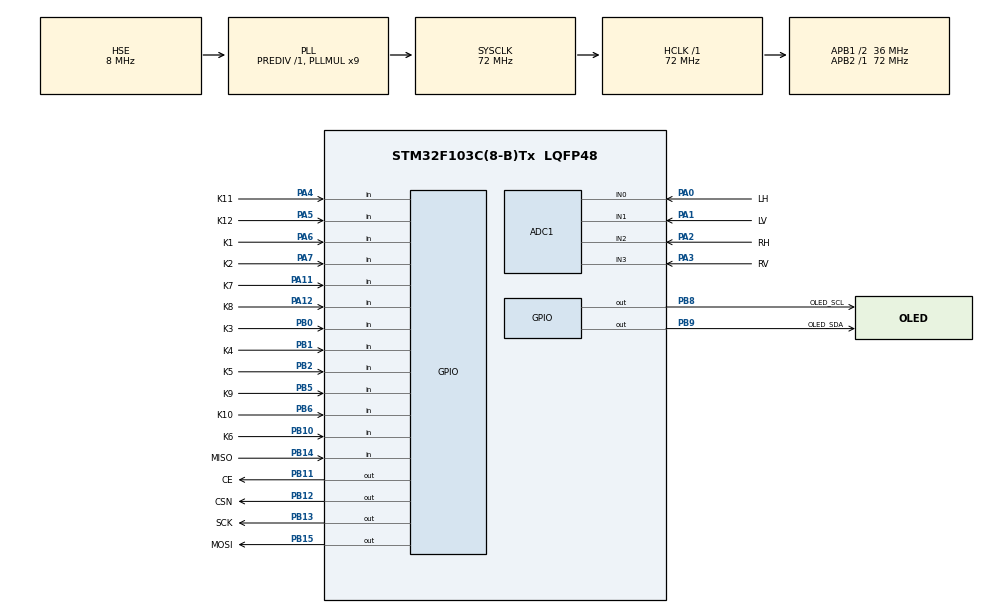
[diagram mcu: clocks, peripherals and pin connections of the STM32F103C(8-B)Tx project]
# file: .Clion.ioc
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ADC1.Channel-0\#ChannelRegularConversion=ADC_CHANNEL_0
ADC1.Channel-1\#ChannelRegularConversion=ADC_CHANNEL_1
ADC1.Channel-2\#ChannelRegularConversion=ADC_CHANNEL_2
ADC1.Channel-3\#ChannelRegularConversion=ADC_CHANNEL_3
ADC1.ContinuousConvMode=ENABLE
ADC1.NbrOfConversion=4
ADC1.NbrOfConversionFlag=1
ADC1.Rank-0\#ChannelRegularConversion=1
ADC1.Rank-1\#ChannelRegularConversion=2
ADC1.Rank-2\#ChannelRegularConversion=3
ADC1.Rank-3\#ChannelRegularConversion=4
ADC1.SamplingTime-0\#ChannelRegularConversion=ADC_SAMPLETIME_41CYCLES_5
ADC1.SamplingTime-1\#ChannelRegularConversion=ADC_SAMPLETIME_41CYCLES_5
ADC1.SamplingTime-2\#ChannelRegularConversion=ADC_SAMPLETIME_41CYCLES_5
ADC1.SamplingTime-3\#ChannelRegularConversion=ADC_SAMPLETIME_41CYCLES_5
ADC1.master=1
Dma.ADC1.0.Direction=DMA_PERIPH_TO_MEMORY
Dma.ADC1.0.Instance=DMA1_Channel1
Dma.ADC1.0.MemDataAlignment=DMA_MDATAALIGN_HALFWORD
Dma.ADC1.0.MemInc=DMA_MINC_ENABLE
Dma.ADC1.0.Mode=DMA_CIRCULAR
Dma.ADC1.0.PeriphDataAlignment=DMA_PDATAALIGN_HALFWORD
Dma.ADC1.0.PeriphInc=DMA_PINC_DISABLE
Dma.ADC1.0.Priority=DMA_PRIORITY_LOW
Dma.Request0=ADC1
Mcu.Family=STM32F1
Mcu.Name=STM32F103C(8-B)Tx
Mcu.Package=LQFP48
NVIC.DMA1_Channel1_IRQn=true\:0\:0\:false\:false\:true\:false\:true\:true
NVIC.PriorityGroup=NVIC_PRIORITYGROUP_4
NVIC.TIM1_UP_IRQn=true\:0\:0\:false\:false\:true\:true\:true\:true
PA0-WKUP.GPIO_Label=LH
PA0-WKUP.Signal=ADCx_IN0
PA1.GPIO_Label=LV
PA1.Signal=ADCx_IN1
PA11.GPIO_Label=K7
PA11.GPIO_PuPd=GPIO_PULLUP
PA11.Signal=GPIO_Input
PA12.GPIO_Label=K8
PA12.GPIO_PuPd=GPIO_PULLUP
PA12.Signal=GPIO_Input
PA13.Mode=Serial_Wire
PA13.Signal=SYS_JTMS-SWDIO
PA14.Mode=Serial_Wire
PA14.Signal=SYS_JTCK-SWCLK
PA2.GPIO_Label=RH
PA2.Signal=ADCx_IN2
PA3.GPIO_Label=RV
PA3.Signal=ADCx_IN3
PA4.GPIO_Label=K11
PA4.GPIO_PuPd=GPIO_PULLUP
PA4.Signal=GPIO_Input
PA5.GPIO_Label=K12
PA5.GPIO_PuPd=GPIO_PULLUP
PA5.Signal=GPIO_Input
PA6.GPIO_Label=K1
PA6.GPIO_PuPd=GPIO_PULLUP
PA6.Signal=GPIO_Input
PA7.GPIO_Label=K2
PA7.GPIO_PuPd=GPIO_PULLUP
PA7.Signal=GPIO_Input
PB0.GPIO_Label=K3
PB0.GPIO_PuPd=GPIO_PULLUP
PB0.Signal=GPIO_Input
PB1.GPIO_Label=K4
PB1.GPIO_PuPd=GPIO_PULLUP
PB1.Signal=GPIO_Input
PB10.GPIO_Label=K6
PB10.GPIO_PuPd=GPIO_PULLUP
PB10.Signal=GPIO_Input
PB11.GPIO_Label=CE
PB11.GPIO_Speed=GPIO_SPEED_FREQ_HIGH
PB11.Signal=GPIO_Output
PB12.GPIO_Label=CSN
PB12.GPIO_Speed=GPIO_SPEED_FREQ_HIGH
PB12.PinState=GPIO_PIN_SET
PB12.Signal=GPIO_Output
PB13.GPIO_Label=SCK
PB13.GPIO_Speed=GPIO_SPEED_FREQ_HIGH
PB13.Signal=GPIO_Output
PB14.GPIO_Label=MISO
PB14.GPIO_PuPd=GPIO_PULLUP
PB14.Signal=GPIO_Input
PB15.GPIO_Label=MOSI
PB15.GPIO_Speed=GPIO_SPEED_FREQ_HIGH
PB15.Signal=GPIO_Output
PB2.GPIO_Label=K5
PB2.GPIO_PuPd=GPIO_PULLUP
PB2.Signal=GPIO_Input
PB5.GPIO_Label=K9
PB5.GPIO_PuPd=GPIO_PULLUP
PB5.Signal=GPIO_Input
PB6.GPIO_Label=K10
PB6.GPIO_PuPd=GPIO_PULLUP
PB6.Signal=GPIO_Input
PB8.GPIO_Label=OLED_SCL
PB8.GPIO_ModeDefaultOutputPP=GPIO_MODE_OUTPUT_OD
PB8.GPIO_PuPd=GPIO_PULLUP
PB8.GPIO_Speed=GPIO_SPEED_FREQ_HIGH
PB8.PinState=GPIO_PIN_SET
PB8.Signal=GPIO_Output
PB9.GPIO_Label=OLED_SDA
PB9.GPIO_ModeDefaultOutputPP=GPIO_MODE_OUTPUT_OD
PB9.GPIO_PuPd=GPIO_PULLUP
PB9.GPIO_Speed=GPIO_SPEED_FREQ_HIGH
PB9.PinState=GPIO_PIN_SET
PB9.Signal=GPIO_Output
PD0-OSC_IN.Mode=HSE-External-Oscillator
PD0-OSC_IN.Signal=RCC_OSC_IN
PD1-OSC_OUT.Mode=HSE-External-Oscillator
PD1-OSC_OUT.Signal=RCC_OSC_OUT
ProjectManager.HeapSize=0x200
ProjectManager.StackSize=0x400
ProjectManager.TargetToolchain=MDK-ARM V5.32
RCC.ADCPresc=RCC_ADCPCLK2_DIV6
RCC.AHBFreq_Value=72000000
RCC.APB1CLKDivider=RCC_HCLK_DIV2
RCC.APB1Freq_Value=36000000
RCC.APB1TimFreq_Value=72000000
RCC.APB2Freq_Value=72000000
RCC.APB2TimFreq_Value=72000000
RCC.HCLKFreq_Value=72000000
RCC.PLLMUL=RCC_PLL_MUL9
RCC.PLLSourceVirtual=RCC_PLLSOURCE_HSE
RCC.SYSCLKFreq_VALUE=72000000
RCC.SYSCLKSource=RCC_SYSCLKSOURCE_PLLCLK
RCC.USBFreq_Value=72000000
SH.ADCx_IN0.0=ADC1_IN0,IN0
SH.ADCx_IN1.0=ADC1_IN1,IN1
SH.ADCx_IN2.0=ADC1_IN2,IN2
SH.ADCx_IN3.0=ADC1_IN3,IN3
TIM1.AutoReloadPreload=TIM_AUTORELOAD_PRELOAD_ENABLE
TIM1.Period=1000 - 1
TIM1.Prescaler=72 - 1
VP_TIM1_VS_ClockSourceINT.Mode=Internal
board=custom

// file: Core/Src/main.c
/* USER CODE BEGIN Header */
/**
  ******************************************************************************
  * @file           : main.c
  * @brief          : Main program body
  ******************************************************************************
  * @attention
  *
  * Copyright (c) 2026 STMicroelectronics.
  * All rights reserved.
  *
  * This software is licensed under terms that can be found in the LICENSE file
  * in the root directory of this software component.
  * If no LICENSE file comes with this software, it is provided AS-IS.
  *
  ******************************************************************************
  */
/* USER CODE END Header */
#include "main.h"
#include "adc.h"
#include "dma.h"
#include "tim.h"
#include "gpio.h"

/* USER CODE BEGIN Includes */
#include <stdio.h>
#include <string.h>
#include "NRF24L01.h"
#include "MyKey.h"
#include "OLED.h"
#include "../Inc/key_callback.h"
/* USER CODE END Includes */

/* USER CODE BEGIN PV */
uint16_t Count = 0;
uint16_t count= 0;
uint8_t Count0 = 0;

uint8_t SendFlag = 0;
uint8_t CheckFlag = 0;

uint8_t SpeedLevel = 0;
/* USER CODE END PV */

void SystemClock_Config(void);
/* USER CODE BEGIN PFP */
void HAL_TIM_PeriodElapsedCallback(TIM_HandleTypeDef *htim)
{
  if (htim->Instance == TIM1)
  {
    Key_Scan();
    Count ++;
    count ++;
    if (count == 100)
    {
      count = 0;
      SendFlag = 1;
    }
    if (Count == 1000)
    {
      Count = 0;
      CheckFlag = 1;
      Count0 ++;
    }
  }
}

/**
 * @brief 将无符号整数转换为指定长度的二进制字符串
 *
 * 该函数将传入的无符号整数 n 转换为二进制表示，并存储在字符串 str 中。
 * 输出的二进制字符串长度固定为 bits 位，不足 bits 位时在高位补零。
 *
 * @param n     要转换的无符号整数
 * @param bits  输出的二进制字符串位数（例如：8、16、32）
 * @param str   输出缓冲区，调用者需保证缓冲区大小 >= bits + 1 字节
 *
 * @note  str 字符串以 '\0' 结尾，可直接用于 printf 等函数
 * @warning 调用者必须确保 bits 大于 0，且 str 缓冲区足够大
 *
 * @example
 *   char buf[9];  // 8位二进制 + 结束符
 *   int_to_bin_str(5, 8, buf);  // buf = "00000101"
 */
void int_to_bin_str(unsigned int n, int bits, char *str)
{
  str[bits] = '\0';               // 在字符串末尾设置结束符

  for (int i = bits - 1; i >= 0; i--) {  // 从最低位到最高位填充
    str[i] = (n & 1) + '0';     // 取出最低位（0或1），转换为ASCII字符
    n >>= 1;                    // 右移一位，准备处理下一位
  }
}

// 可以根据手感调整这两个参数
#define DEADZONE    5    // 死区：绝对值小于这个数，就强制归0
#define ENDZONE     95    // 靠近端点的阈值：绝对值大于等于这个数，就强制±100

// 输入范围：-100 ~ +100
// 输出范围：-100 / 0 / +100（或者保持中间值不变）
int8_t Joystick_Fix(int16_t value)
{
  if (value > ENDZONE) {
    return 100;
  } else if (value < -ENDZONE) {
    return -100;
  } else if (value > -DEADZONE && value < DEADZONE) {
    return 0;
  } else {
    // 中间区域保持原值不变，也可以做线性缩放
    return value;
  }
}

/*平衡车动画*/
void RC_Start_Animation()
{
  OLED_ShowString(44,15,"STM32",OLED_8X16);
  OLED_ShowChinese_12X12(46,35,"遥控器");
  OLED_Update();
  HAL_Delay(1000);
  while(1)
  {
    static uint16_t i = 0;
    OLED_ShowChinese_12X12(40,35,"车度空间");
    OLED_UpdateArea(40,35,i,12);
    if(i<12*2)
    {
      HAL_Delay(16);i++;
    }
    if (i<12*4 && i>=12*2)
    {
      HAL_Delay(3);i++;
    }
    if (i>=12*4)
    {
      HAL_Delay(1500);break;
    }
  }
  OLED_Clear();
  OLED_ShowString(0, 12,  "  按键8保存速度 ", OLED_8X16);
  OLED_ShowString(0, 28, "   按键9 减速   ", OLED_8X16);
  OLED_ShowString(0, 44, "   按键10加速 ", OLED_8X16);
  OLED_Update();
  HAL_Delay(3000);
  OLED_Clear();
  while(1)
  {
    static uint16_t i = 0;
    OLED_ShowChinese_16X16(0,20,"功能按键与平衡车");
    OLED_ShowChinese_16X16(35,36,"一一映射");
    OLED_UpdateArea(0,0,i,60);
    if(i<16*4)
    {
      HAL_Delay(16);i++;
    }
    if (i<16*8 && i>=12*4)
    {
      HAL_Delay(3);i++;
    }
    if (i>=16*8)
    {
      HAL_Delay(1500);break;
    }
  }
  OLED_Clear();
  OLED_ShowChinese_12X12(40,26,"按下一键");
  OLED_ShowString(0, 40, "                K5>", OLED_6X8);
  OLED_Update();
}
/* USER CODE END PFP */

int main(void)
{

  /* MCU Configuration--------------------------------------------------------*/

  /* Reset of all peripherals, Initializes the Flash interface and the Systick. */
  HAL_Init();

  /* Configure the system clock */
  SystemClock_Config();

  /* Initialize all configured peripherals */
  MX_GPIO_Init();
  MX_DMA_Init();
  MX_TIM1_Init();
  MX_ADC1_Init();
  /* USER CODE BEGIN 2 */
  OLED_Init();
  NRF24L01_Init();
  HAL_TIM_Base_Start_IT(&htim1);
  Key_RegisterAllHandlers();
  /* USER CODE END 2 */

  /* Infinite loop */
  /* USER CODE BEGIN WHILE */
  uint16_t AD_Data[4];
  int8_t LH,LV,RH,RV;
  uint8_t TX_CallbackData = 0;
  uint8_t PLOS_CNT= 0,ARC_CNT = 0;
  uint8_t BCar_KeyControl = 0;   // 小车回传的活动按键编号
  uint8_t displayKey = 0;        // 当前要OLED显示的按键编号
  uint8_t displayKey_Last = 0;   // 上次显示的按键编号，用于变化检测去重刷新
  HAL_ADCEx_Calibration_Start(&hadc1);
  HAL_Delay(10);
  HAL_ADC_Start_DMA(&hadc1, (uint32_t*)AD_Data, 4);

  RC_Start_Animation();
  while (Key_GetPressed(K5_ID) == 0);
  OLED_Clear();
  HAL_Delay(10);
  while (1)
  {
    /* 每次循环顶部先读小车回复，避免被下面 NRF24L01_Send() 清除 RX_DR 标志 */
    if (NRF24L01_Receive())
    {
        BCar_KeyControl = NRF24L01_RxBuffer[4];
        SpeedLevel = NRF24L01_RxBuffer[5];
    }

    LH = (AD_Data[0] * 200 / 4095) - 100;
    LV = (AD_Data[1] * 200 / 4095) - 100;
    RH = (AD_Data[2] * 200 / 4095) - 100;
    RV = (AD_Data[3] * 200 / 4095) - 100;

    LH = Joystick_Fix(LH);
    LV = Joystick_Fix(LV);
    RH = Joystick_Fix(RH);
    RV = Joystick_Fix(RV);

    NRF24L01_TxBuffer[0] = LH;
    NRF24L01_TxBuffer[1] = LV;
    NRF24L01_TxBuffer[2] = RH;
    NRF24L01_TxBuffer[3] = RV;
    NRF24L01_TxBuffer[4] = Key_Flag;

    if (CheckFlag == 1)
    {
      CheckFlag = 0;
      TX_CallbackData = NRF24L01_ReadByte(NRF24L01_OBSERVE_TX);
      PLOS_CNT = (TX_CallbackData >> 4) & 0x0F;//统计最终发送失败、完全丢失的数据包数量。
      ARC_CNT = (TX_CallbackData >> 0) & 0x0F; //统计当前数据包的重传次数。值越大，信号越差，最差重传15次
    }

    if (SendFlag == 1)
    {
        SendFlag = 0;
        NRF24L01_Send();
        Key_Flag = 0;
    }

    /* displayKey优先级：小车回传状态(权威) > 本地按键(即时预览) > 0(无活动) */
    if (BCar_KeyControl != 0)
        displayKey = BCar_KeyControl;
    else if (Key_Flag != 0)
        displayKey = Key_Flag;
    else
            displayKey = 0;
    if (ARC_CNT <= 3) {
      OLED_ShowImage(0, 0, 16, 16, Sig nal_3);
    }
    else if (ARC_CNT <= 9) {
      OLED_ShowImage(0, 0, 16, 16, Signal_2);
    }
    else if (ARC_CNT < 15) {
      OLED_ShowImage(0, 0, 16, 16, Signal_1);
    }
    else {
      OLED_ShowImage(0, 0, 16, 16, Signal_0);
    }

    /* displayKey变化时才刷新OLED对应区域，减少I2C带宽浪费 */
    if (displayKey != displayKey_Last)
    {
      if (displayKey != 0)
          OLED_Printf(28, 0, OLED_6X8, " K:%03d", displayKey);
      else
          OLED_Printf(28, 0, OLED_6X8, "        ");
      displayKey_Last = displayKey;
    }

    OLED_Printf(28, 14  , OLED_6X8, " SpeedLevel:%03d", SpeedLevel);
    OLED_Printf(80, 0  , OLED_6X8, "ArcC:%02d", ARC_CNT);
    OLED_Printf(0, 24, OLED_8X16, "LH:%+04d",  LH);
    OLED_Printf(72, 24  , OLED_8X16, "LV:%+04d", LV);
    OLED_Printf(0, 48, OLED_8X16, "RH:%+04d", RH);
    OLED_Printf(72 , 48  , OLED_8X16, "RV:%+04d", RV);
    OLED_Update();

    /*单击按键测试程序*/
    // for (uint8_t i = 0; i < KEY_NUM; i++) {
    //   if (Key_GetPressed(i)) {
    //     OLED_Clear();
    //     OLED_Printf(0 , 0  , OLED_8X16, "K%d", i+1);
    //     OLED_Update();
    //   }
    // }
    /*双击按键测试程序*/
    // OLED_Printf(0 , 0  , OLED_8X16, "K%d", Num);
    // OLED_Update();

    /* USER CODE END WHILE */

  }
}

void SystemClock_Config(void)
{
  RCC_OscInitTypeDef RCC_OscInitStruct = {0};
  RCC_ClkInitTypeDef RCC_ClkInitStruct = {0};
  RCC_PeriphCLKInitTypeDef PeriphClkInit = {0};

  /** Initializes the RCC Oscillators according to the specified parameters
  * in the RCC_OscInitTypeDef structure.
  */
  RCC_OscInitStruct.OscillatorType = RCC_OSCILLATORTYPE_HSE;
  RCC_OscInitStruct.HSEState = RCC_HSE_ON;
  RCC_OscInitStruct.HSEPredivValue = RCC_HSE_PREDIV_DIV1;
  RCC_OscInitStruct.HSIState = RCC_HSI_ON;
  RCC_OscInitStruct.PLL.PLLState = RCC_PLL_ON;
  RCC_OscInitStruct.PLL.PLLSource = RCC_PLLSOURCE_HSE;
  RCC_OscInitStruct.PLL.PLLMUL = RCC_PLL_MUL9;
  if (HAL_RCC_OscConfig(&RCC_OscInitStruct) != HAL_OK)
  {
    Error_Handler();
  }

  /** Initializes the CPU, AHB and APB buses clocks
  */
  RCC_ClkInitStruct.ClockType = RCC_CLOCKTYPE_HCLK|RCC_CLOCKTYPE_SYSCLK
                              |RCC_CLOCKTYPE_PCLK1|RCC_CLOCKTYPE_PCLK2;
  RCC_ClkInitStruct.SYSCLKSource = RCC_SYSCLKSOURCE_PLLCLK;
  RCC_ClkInitStruct.AHBCLKDivider = RCC_SYSCLK_DIV1;
  RCC_ClkInitStruct.APB1CLKDivider = RCC_HCLK_DIV2;
  RCC_ClkInitStruct.APB2CLKDivider = RCC_HCLK_DIV1;

  if (HAL_RCC_ClockConfig(&RCC_ClkInitStruct, FLASH_LATENCY_2) != HAL_OK)
  {
    Error_Handler();
  }
  PeriphClkInit.PeriphClockSelection = RCC_PERIPHCLK_ADC;
  PeriphClkInit.AdcClockSelection = RCC_ADCPCLK2_DIV6;
  if (HAL_RCCEx_PeriphCLKConfig(&PeriphClkInit) != HAL_OK)
  {
    Error_Handler();
  }
}

void Error_Handler(void)
{
  __disable_irq();
  while (1)
  {
  }
}
